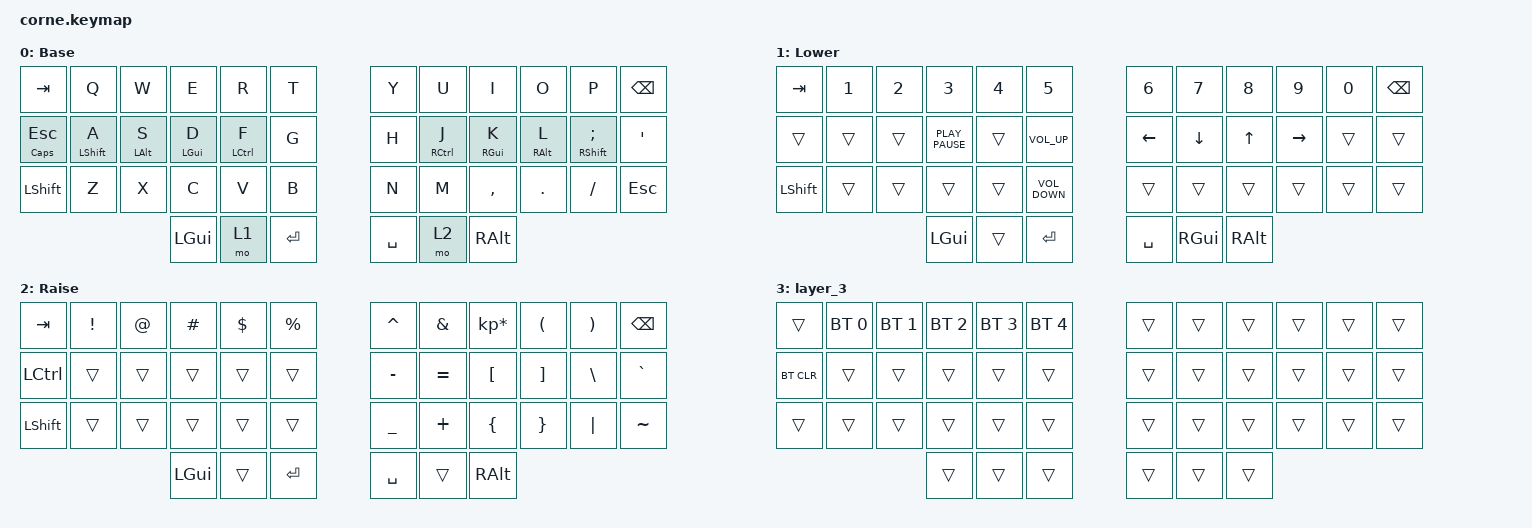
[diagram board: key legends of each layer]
/*
 * Copyright (c) 2020 The ZMK Contributors
 *
 * SPDX-License-Identifier: MIT
 */

#include <behaviors.dtsi>
#include <dt-bindings/zmk/bt.h>
#include <dt-bindings/zmk/keys.h>

/ {
    combos {
        compatible = "zmk,combos";

        bt_layer {
            bindings = <&mo 3>;
            key-positions = <37 40>;
        };
    };

    keymap {
        compatible = "zmk,keymap";

        default_layer {
            // -----------------------------------------------------------------------------------------
            // |  TAB |  Q  |  W  |  E  |  R  |  T  |   |  Y  |  U   |  I  |  O  |  P  | BKSP |
            // | CTRL |  A  |  S  |  D  |  F  |  G  |   |  H  |  J   |  K  |  L  |  ;  |  '   |
            // | SHFT |  Z  |  X  |  C  |  V  |  B  |   |  N  |  M   |  ,  |  .  |  /  | ESC  |
            //                    | GUI | LWR | SPC |   | ENT | RSE  | ALT |

            display-name = "Base";
            bindings = <
&kp TAB              &kp Q        &kp W           &kp E           &kp R               &kp T      &kp Y      &kp U                &kp I            &kp O            &kp P                      &kp BSPC
&mt CAPSLOCK ESCAPE  &mt LSHFT A  &mt LEFT_ALT S  &mt LEFT_GUI D  &mt LEFT_CONTROL F  &kp G      &kp H      &mt RIGHT_CONTROL J  &mt RIGHT_GUI K  &mt RIGHT_ALT L  &mt RIGHT_SHIFT SEMICOLON  &kp SQT
&kp LSHFT            &kp Z        &kp X           &kp C           &kp V               &kp B      &kp N      &kp M                &kp COMMA        &kp DOT          &kp FSLH                   &kp ESC
                                                  &kp LGUI        &mo 1               &kp RET    &kp SPACE  &mo 2                &kp RALT
            >;
        };

        lower_layer {
            // -----------------------------------------------------------------------------------------
            // |  TAB |  1  |  2  |  3  |  4  |  5  |   |  6  |  7  |  8  |  9  |  0  | BKSP |
            // | BTCLR| BT1 | BT2 | BT3 | BT4 | BT5 |   | LFT | DWN |  UP | RGT |     |      |
            // | SHFT |     |     |     |     |     |   |     |     |     |     |     |      |
            //                    | GUI |     | SPC |   | ENT |     | ALT |

            display-name = "Lower";
            bindings = <
&kp TAB    &kp N1  &kp N2  &kp N3            &kp N4  &kp N5               &kp N6     &kp N7         &kp N8    &kp N9     &kp N0  &kp BSPC
&trans     &trans  &trans  &kp K_PLAY_PAUSE  &trans  &kp C_VOLUME_UP      &kp LEFT   &kp DOWN       &kp UP    &kp RIGHT  &trans  &trans
&kp LSHFT  &trans  &trans  &trans            &trans  &kp C_VOLUME_DOWN    &trans     &trans         &trans    &trans     &trans  &trans
                           &kp LGUI          &trans  &kp RET              &kp SPACE  &kp RIGHT_GUI  &kp RALT
            >;
        };

        raise_layer {
            // -----------------------------------------------------------------------------------------
            // |  TAB |  !  |  @  |  #  |  $  |  %  |   |  ^  |  &  |  *  |  (  |  )  | BKSP |
            // | CTRL |     |     |     |     |     |   |  -  |  =  |  [  |  ]  |  \  |  `   |
            // | SHFT |     |     |     |     |     |   |  _  |  +  |  {  |  }  | "|" |  ~   |
            //                    | GUI |     | SPC |   | ENT |     | ALT |

            display-name = "Raise";
            bindings = <
&kp TAB    &kp EXCL  &kp AT  &kp HASH  &kp DLLR  &kp PRCNT    &kp CARET  &kp AMPS   &kp KP_MULTIPLY  &kp LPAR  &kp RPAR  &kp BSPC
&kp LCTRL  &trans    &trans  &trans    &trans    &trans       &kp MINUS  &kp EQUAL  &kp LBKT         &kp RBKT  &kp BSLH  &kp GRAVE
&kp LSHFT  &trans    &trans  &trans    &trans    &trans       &kp UNDER  &kp PLUS   &kp LBRC         &kp RBRC  &kp PIPE  &kp TILDE
                             &kp LGUI  &trans    &kp RET      &kp SPACE  &trans     &kp RALT
            >;
        };

        layer_3 {
            bindings = <
&trans      &bt BT_SEL 0  &bt BT_SEL 1  &bt BT_SEL 2  &bt BT_SEL 3  &bt BT_SEL 4    &trans  &trans  &trans  &trans  &trans  &trans
&bt BT_CLR  &trans        &trans        &trans        &trans        &trans          &trans  &trans  &trans  &trans  &trans  &trans
&trans      &trans        &trans        &trans        &trans        &trans          &trans  &trans  &trans  &trans  &trans  &trans
                                        &trans        &trans        &trans          &trans  &trans  &trans
            >;
        };
    };
};
